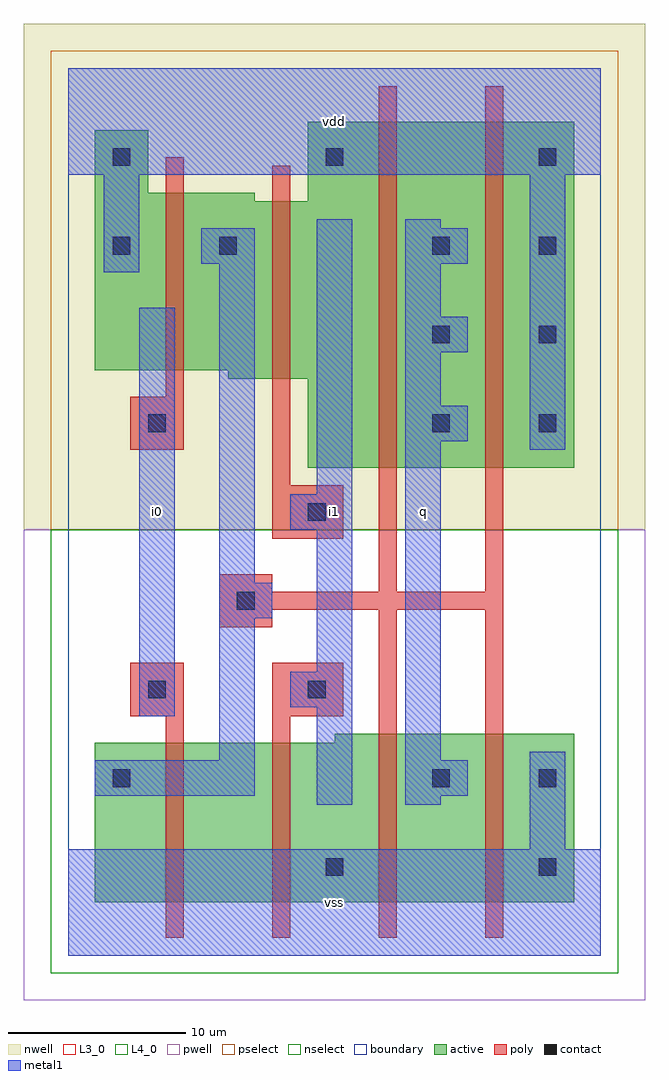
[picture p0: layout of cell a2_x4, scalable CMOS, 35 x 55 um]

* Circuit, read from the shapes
.subckt a2_x4 i0 i1 q vdd vss
M1 n1 i0 n2 VSUBS nfet w=9u l=1u
M2 vss i1 n1 VSUBS nfet w=9u l=1u
M3 q n2 vss VSUBS nfet w=9.5u l=1u m=2
M4 n2 i0 vdd n3 pfet w=10u l=1u
M5 vdd i1 n2 n3 pfet w=10u l=1u
M6 q n2 vdd n3 pfet w=19.5u l=1u m=2
.ends

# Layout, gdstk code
import gdstk
lib = gdstk.Library(unit=1e-6, precision=1e-09)
def R(c, l, rs):  # rectangles x0, y0, x1, y1
    for r in rs: c.add(gdstk.rectangle(r[:2], r[2:], *l))
def A(c, l, x, y, w, h, nx, ny, dx, dy):  # array of equal rectangles
    R(c, l, [(x+i*dx, y+j*dy, x+i*dx+w, y+j*dy+h) for i in range(nx) for j in range(ny)])
L3_0 = (3, 0)
L4_0 = (4, 0)
contact = (25, 0)
pwell = (41, 0)
nwell = (42, 0)
active = (43, 0)
pselect = (44, 0)
nselect = (45, 0)
poly = (46, 0)
metal1 = (49, 0)
boundary = (63, 0)

a2_x4 = lib.new_cell('a2_x4')
R(a2_x4, L3_0, [(1.5,3,28.5,12), (15,12,28.5,12.5)])
R(a2_x4, L4_0, [(13.5,27.5,28.5,32.5), (9,32.5,28.5,33), (1.5,33,28.5,42.5), (1.5,42.5,10.5,43), (13.5,42.5,28.5,47), (1.5,43,4.5,46.5)])
A(a2_x4, contact, 20.5, 29.5, 1, 1, 1, 3, 0, 5)
A(a2_x4, contact, 26.5, 29.5, 1, 1, 1, 3, 0, 5)
A(a2_x4, contact, 2.5, 44.5, 1, 1, 3, 1, 12, 0)
R(a2_x4, contact, [(14.5,4.5,15.5,5.5), (26.5,4.5,27.5,5.5), (2.5,9.5,3.5,10.5), (20.5,9.5,21.5,10.5), (26.5,9.5,27.5,10.5), (4.5,14.5,5.5,15.5), (13.5,14.5,14.5,15.5), (9.5,19.5,10.5,20.5), (13.5,24.5,14.5,25.5), (4.5,29.5,5.5,30.5), (2.5,39.5,3.5,40.5), (8.5,39.5,9.5,40.5)])
R(a2_x4, pwell, [(-2.5,-2.5,32.5,24)])
R(a2_x4, nwell, [(-2.5,24,32.5,52.5)])
R(a2_x4, active, [(1.5,3,28.5,12), (15,12,28.5,12.5), (13.5,27.5,28.5,32.5), (9,32.5,28.5,33), (1.5,33,28.5,42.5), (1.5,42.5,10.5,43), (13.5,42.5,28.5,47), (1.5,43,4.5,46.5)])
R(a2_x4, pselect, [(-1,24,31,51)])
R(a2_x4, nselect, [(-1,-1,31,24)])
R(a2_x4, poly, [(5.5,1,6.5,13.5), (11.5,1,12.5,13.5), (17.5,1,18.5,19.5), (23.5,1,24.5,19.5), (3.5,13.5,6.5,16.5), (11.5,13.5,15.5,16.5), (8.5,18.5,11.5,19.5), (8.5,19.5,24.5,20.5), (8.5,20.5,11.5,21.5), (17.5,20.5,18.5,49), (23.5,20.5,24.5,49), (11.5,23.5,15.5,26.5), (11.5,26.5,12.5,44.5), (3.5,28.5,6.5,31.5), (5.5,31.5,6.5,45)])
R(a2_x4, metal1, [(0,0,30,6), (0,0,30,6), (26,6,28,11.5), (26,6,28,11.5), (14,8.5,16,14), (14,8.5,16,14), (19,8.5,21,9), (19,8.5,21,9), (1.5,9,10.5,11), (1.5,9,10.5,11), (19,9,22.5,11), (19,9,22.5,11), (8.5,11,10.5,19), (8.5,11,10.5,19), (19,11,21,29), (19,11,21,29), (4,13.5,6,36.5), (4,13.5,6,36.5), (12.5,14,16,16), (12.5,14,16,16), (14,16,16,24), (14,16,16,24), (8.5,19,11.5,21), (8.5,19,11.5,21), (8.5,21,10.5,39), (8.5,21,10.5,39), (12.5,24,16,26), (12.5,24,16,26), (14,26,16,41.5), (14,26,16,41.5), (26,28.5,28,44), (26,28.5,28,44), (19,29,22.5,31), (19,29,22.5,31), (19,31,21,34), (19,31,21,34), (19,34,22.5,36), (19,34,22.5,36), (19,36,21,39), (19,36,21,39), (2,38.5,4,44), (2,38.5,4,44), (7.5,39,10.5,41), (7.5,39,10.5,41), (19,39,22.5,41), (19,39,22.5,41), (19,41,21,41.5), (19,41,21,41.5), (0,44,30,50), (0,44,30,50)])
R(a2_x4, boundary, [(0,0,30,50)])
a2_x4.add(gdstk.Label('i0', (5,25), layer=49, texttype=0))
a2_x4.add(gdstk.Label('vss', (15,3), layer=49, texttype=0))
a2_x4.add(gdstk.Label('q', (20,25), layer=49, texttype=0))
a2_x4.add(gdstk.Label('i1', (15,25), layer=49, texttype=0))
a2_x4.add(gdstk.Label('vdd', (15,47), layer=49, texttype=0))

lib.write_gds('a2_x4.gds')
